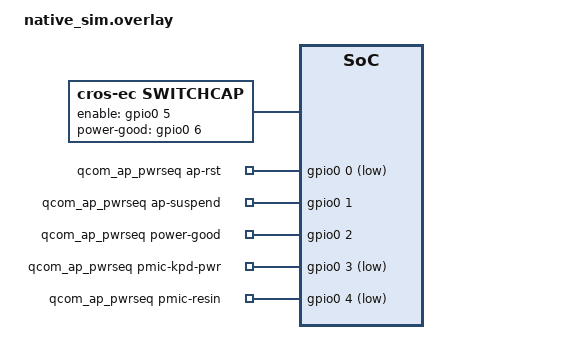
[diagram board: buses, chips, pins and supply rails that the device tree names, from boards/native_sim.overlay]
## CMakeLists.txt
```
# Copyright 2026 The ChromiumOS Authors
# Use of this source code is governed by a BSD-style license that can be
# found in the LICENSE file.

cmake_minimum_required(VERSION 3.13.1)
find_package(Zephyr REQUIRED HINTS "${ZEPHYR_BASE}")
project(qcom_ap_pwrseq)

add_subdirectory(${PLATFORM_EC}/zephyr/test/test_utils test_utils)

target_sources_ifdef(CONFIG_TEST_DEFAULT app PRIVATE src/main.c)
target_sources_ifdef(CONFIG_TEST_EC_APP_MAIN app PRIVATE src/test_ec_app_main.c)
target_sources_ifdef(CONFIG_TEST_SYSJUMP app PRIVATE src/test_sysjump.c)

target_sources(app PRIVATE
  src/mock_switchcap.c
  src/mock_input.c
  src/mock_chipset.c
)
```

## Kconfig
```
# Copyright 2026 The ChromiumOS Authors
# Use of this source code is governed by a BSD-style license that can be
# found in the LICENSE file.

source "Kconfig.zephyr"

config TEST_DEFAULT
	bool
	default y if !TEST_SYSJUMP && !TEST_EC_APP_MAIN

config TEST_EC_APP_MAIN
	bool "Test ec_app_main starts the power sequence task"

config TEST_SYSJUMP
	bool

choice TEST_SYSJUMP_CHOICE
	prompt "Select sysjump test state"
	optional

config TEST_SYSJUMP_S0
	bool "Test power sequencing with system jump in S0"
	select TEST_SYSJUMP

config TEST_SYSJUMP_S3
	bool "Test power sequencing with system jump in S3"
	select TEST_SYSJUMP

config TEST_SYSJUMP_G3
	bool "Test power sequencing with system jump in G3"
	select TEST_SYSJUMP

endchoice
```

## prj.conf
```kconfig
# Copyright 2026 The ChromiumOS Authors
# Use of this source code is governed by a BSD-style license that can be
# found in the LICENSE file.

CONFIG_ZTEST=y
CONFIG_ZTEST_MOCKING=y
CONFIG_PLATFORM_EC=y
CONFIG_PLATFORM_EC_HOOKS=y
CONFIG_CROS_EC=y
CONFIG_GPIO=y
CONFIG_GPIO_EMUL=y
CONFIG_QCOM_AP_PWRSEQ_DRIVER=y
CONFIG_CROS_SWITCHCAP=n
```

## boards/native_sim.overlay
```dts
/* Copyright 2026 The ChromiumOS Authors
 * Use of this source code is governed by a BSD-style license that can be
 * found in the LICENSE file.
 */

#include <board-overlays/native_sim.dts>
#include <zephyr/dt-bindings/gpio/gpio.h>

/ {
	switchcap: switchcap {
		compatible = "cros-ec,switchcap";
		enable-gpios = <&gpio0 5 GPIO_ACTIVE_HIGH>;
		power-good-gpios = <&gpio0 6 GPIO_ACTIVE_HIGH>;
	};

	qcom_ap_pwrseq: qcom-ap-pwrseq {
		compatible = "cros-ec,qcom-ap-pwrseq";
		switchcap = <&switchcap>;
		ap-rst-gpios = <&gpio0 0 GPIO_ACTIVE_LOW>;
		ap-suspend-gpios = <&gpio0 1 GPIO_ACTIVE_HIGH>;
		power-good-gpios = <&gpio0 2 GPIO_ACTIVE_HIGH>;
		pmic-kpd-pwr-gpios = <&gpio0 3 GPIO_ACTIVE_LOW>;
		pmic-resin-gpios = <&gpio0 4 GPIO_ACTIVE_LOW>;
	};
};
```

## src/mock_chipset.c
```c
/* Copyright 2026 The ChromiumOS Authors
 * Use of this source code is governed by a BSD-style license that can be
 * found in the LICENSE file.
 */

#include "hooks.h"
#include "mock_chipset.h"
#include "system.h"

#include <zephyr/fff.h>
#include <zephyr/ztest.h>

DEFINE_FAKE_VALUE_FUNC(int, system_can_boot_ap);

FAKE_VOID_FUNC(test_hook_pre_init);
FAKE_VOID_FUNC(test_hook_startup);
FAKE_VOID_FUNC(test_hook_resume);
FAKE_VOID_FUNC(test_hook_suspend);
FAKE_VOID_FUNC(test_hook_shutdown);
FAKE_VOID_FUNC(test_hook_shutdown_complete);
FAKE_VOID_FUNC(test_hook_reset);

DECLARE_HOOK(HOOK_CHIPSET_PRE_INIT, test_hook_pre_init, HOOK_PRIO_DEFAULT);
DECLARE_HOOK(HOOK_CHIPSET_STARTUP, test_hook_startup, HOOK_PRIO_DEFAULT);
DECLARE_HOOK(HOOK_CHIPSET_RESUME, test_hook_resume, HOOK_PRIO_DEFAULT);
DECLARE_HOOK(HOOK_CHIPSET_SUSPEND, test_hook_suspend, HOOK_PRIO_DEFAULT);
DECLARE_HOOK(HOOK_CHIPSET_SHUTDOWN, test_hook_shutdown, HOOK_PRIO_DEFAULT);
DECLARE_HOOK(HOOK_CHIPSET_SHUTDOWN_COMPLETE, test_hook_shutdown_complete,
	     HOOK_PRIO_DEFAULT);
DECLARE_HOOK(HOOK_CHIPSET_RESET, test_hook_reset, HOOK_PRIO_DEFAULT);

/* Additional functions for test verification */

void mock_clear_hook_notify_counts(void)
{
	RESET_FAKE(test_hook_pre_init);
	RESET_FAKE(test_hook_startup);
	RESET_FAKE(test_hook_resume);
	RESET_FAKE(test_hook_suspend);
	RESET_FAKE(test_hook_shutdown);
	RESET_FAKE(test_hook_shutdown_complete);
	RESET_FAKE(test_hook_reset);
}

void mock_chipset_reset_state(void)
{
	RESET_FAKE(system_can_boot_ap);
	system_can_boot_ap_fake.return_val = 1;
	system_common_reset_state();
	mock_clear_hook_notify_counts();
}

int mock_get_hook_notify_count(enum hook_type type)
{
	switch (type) {
	case HOOK_CHIPSET_PRE_INIT:
		return test_hook_pre_init_fake.call_count;
	case HOOK_CHIPSET_STARTUP:
		return test_hook_startup_fake.call_count;
	case HOOK_CHIPSET_RESUME:
		return test_hook_resume_fake.call_count;
	case HOOK_CHIPSET_SUSPEND:
		return test_hook_suspend_fake.call_count;
	case HOOK_CHIPSET_SHUTDOWN:
		return test_hook_shutdown_fake.call_count;
	case HOOK_CHIPSET_SHUTDOWN_COMPLETE:
		return test_hook_shutdown_complete_fake.call_count;
	case HOOK_CHIPSET_RESET:
		return test_hook_reset_fake.call_count;
	default:
		zassert_unreachable("Unsupported hook type %d", type);
		return 0;
	}
}
```

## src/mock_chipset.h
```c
/* Copyright 2026 The ChromiumOS Authors
 * Use of this source code is governed by a BSD-style license that can be
 * found in the LICENSE file.
 */

#ifndef ZEPHYR_TEST_QCOM_AP_PWRSEQ_SRC_MOCK_CHIPSET_H_
#define ZEPHYR_TEST_QCOM_AP_PWRSEQ_SRC_MOCK_CHIPSET_H_

#include "hooks.h"

#include <zephyr/fff.h>

DECLARE_FAKE_VALUE_FUNC(int, system_can_boot_ap);

void mock_chipset_reset_state(void);
int mock_get_hook_notify_count(enum hook_type type);
void mock_clear_hook_notify_counts(void);

#endif /* ZEPHYR_TEST_QCOM_AP_PWRSEQ_SRC_MOCK_CHIPSET_H_ */
```

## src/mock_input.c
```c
/* Copyright 2026 The ChromiumOS Authors
 * Use of this source code is governed by a BSD-style license that can be
 * found in the LICENSE file.
 */

#include "hooks.h"
#include "lid_switch.h"
#include "mock_input.h"
#include "power_button.h"

#include <stdbool.h>

#include <zephyr/fff.h>

DEFINE_FAKE_VALUE_FUNC(int, power_button_is_pressed);
DEFINE_FAKE_VALUE_FUNC(int, lid_is_open);

void mock_power_button_set(bool pressed)
{
	power_button_is_pressed_fake.return_val = pressed;
	hook_notify(HOOK_POWER_BUTTON_CHANGE);
}

void mock_lid_set(bool open)
{
	lid_is_open_fake.return_val = open;
	hook_notify(HOOK_LID_CHANGE);
}

void mock_input_reset_state(void)
{
	RESET_FAKE(power_button_is_pressed);
	RESET_FAKE(lid_is_open);
	lid_is_open_fake.return_val = 1;
}
```

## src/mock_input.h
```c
/* Copyright 2026 The ChromiumOS Authors
 * Use of this source code is governed by a BSD-style license that can be
 * found in the LICENSE file.
 */

#ifndef ZEPHYR_TEST_QCOM_AP_PWRSEQ_SRC_MOCK_INPUT_H_
#define ZEPHYR_TEST_QCOM_AP_PWRSEQ_SRC_MOCK_INPUT_H_

#include <stdbool.h>

#include <zephyr/fff.h>

DECLARE_FAKE_VALUE_FUNC(int, power_button_is_pressed);
DECLARE_FAKE_VALUE_FUNC(int, lid_is_open);

void mock_power_button_set(bool pressed);
void mock_lid_set(bool open);
void mock_input_reset_state(void);

#endif /* ZEPHYR_TEST_QCOM_AP_PWRSEQ_SRC_MOCK_INPUT_H_ */
```

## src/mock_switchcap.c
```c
/* Copyright 2026 The ChromiumOS Authors
 * Use of this source code is governed by a BSD-style license that can be
 * found in the LICENSE file.
 */

#include "mock_switchcap.h"

#include <stdbool.h>

#include <zephyr/device.h>
#include <zephyr/devicetree.h>
#include <zephyr/fff.h>

#include <drivers/cros_switchcap.h>

DEFINE_FAKE_VALUE_FUNC(int, cros_switchcap_set_power, const struct device *,
		       bool);
DEFINE_FAKE_VALUE_FUNC(bool, cros_switchcap_is_enabled, const struct device *);
DEFINE_FAKE_VALUE_FUNC(bool, cros_switchcap_is_power_good,
		       const struct device *);

static int custom_cros_switchcap_set_power(const struct device *dev,
					   bool enable)
{
	ARG_UNUSED(dev);

	cros_switchcap_is_enabled_fake.return_val = enable;
	return 0;
}

void mock_switchcap_reset_state(void)
{
	RESET_FAKE(cros_switchcap_set_power);
	RESET_FAKE(cros_switchcap_is_enabled);
	RESET_FAKE(cros_switchcap_is_power_good);
	cros_switchcap_set_power_fake.custom_fake =
		custom_cros_switchcap_set_power;
	cros_switchcap_is_power_good_fake.return_val = true;
}

DEVICE_DT_DEFINE(DT_NODELABEL(switchcap), NULL, NULL, NULL, NULL, POST_KERNEL,
		 CONFIG_KERNEL_INIT_PRIORITY_DEVICE, NULL);
```

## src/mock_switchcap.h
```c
/* Copyright 2026 The ChromiumOS Authors
 * Use of this source code is governed by a BSD-style license that can be
 * found in the LICENSE file.
 */

#ifndef ZEPHYR_TEST_QCOM_AP_PWRSEQ_SRC_MOCK_SWITCHCAP_H_
#define ZEPHYR_TEST_QCOM_AP_PWRSEQ_SRC_MOCK_SWITCHCAP_H_

#include <stdbool.h>

#include <zephyr/device.h>
#include <zephyr/fff.h>

DECLARE_FAKE_VALUE_FUNC(int, cros_switchcap_set_power, const struct device *,
			bool);
DECLARE_FAKE_VALUE_FUNC(bool, cros_switchcap_is_enabled, const struct device *);
DECLARE_FAKE_VALUE_FUNC(bool, cros_switchcap_is_power_good,
			const struct device *);

void mock_switchcap_reset_state(void);

#endif /* ZEPHYR_TEST_QCOM_AP_PWRSEQ_SRC_MOCK_SWITCHCAP_H_ */
```

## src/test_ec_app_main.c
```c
/* Copyright 2026 The ChromiumOS Authors
 * Use of this source code is governed by a BSD-style license that can be
 * found in the LICENSE file.
 */

#include "ap_power/ap_power_interface.h"
#include "ec_app_main.h"

#include <zephyr/fff.h>
#include <zephyr/ztest.h>

FAKE_VOID_FUNC(ap_pwrseq_task_start);

/*
 * Verify ec_app_main() starts the AP power sequence task when
 * CONFIG_QCOM_AP_PWRSEQ_DRIVER is enabled.
 */
ZTEST(qcom_ap_pwrseq, test_ec_app_main)
{
	ec_app_main();
	zassert_equal(ap_pwrseq_task_start_fake.call_count, 1);
}

ZTEST_SUITE(qcom_ap_pwrseq, NULL, NULL, NULL, NULL, NULL);
```

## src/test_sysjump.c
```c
/* Copyright 2026 The ChromiumOS Authors
 * Use of this source code is governed by a BSD-style license that can be
 * found in the LICENSE file.
 */

#include "ap_power/ap_power_interface.h"
#include "chipset.h"
#include "hooks.h"
#include "mock_chipset.h"
#include "system.h"

#include <zephyr/device.h>
#include <zephyr/devicetree.h>
#include <zephyr/drivers/gpio.h>
#include <zephyr/drivers/gpio/gpio_emul.h>
#include <zephyr/init.h>
#include <zephyr/ztest.h>

#define AP_PWRSEQ_NODE DT_NODELABEL(qcom_ap_pwrseq)

static const struct device *const ap_pwrseq_dev = DEVICE_DT_GET(AP_PWRSEQ_NODE);
static const struct gpio_dt_spec ap_suspend_gpio =
	GPIO_DT_SPEC_GET(AP_PWRSEQ_NODE, ap_suspend_gpios);
static const struct gpio_dt_spec power_good_gpio =
	GPIO_DT_SPEC_GET(AP_PWRSEQ_NODE, power_good_gpios);

#if defined(CONFIG_TEST_SYSJUMP_S0)
static const int power_good_init_val = 1;
static const int ap_suspend_init_val = 0;
static const enum chipset_state_mask expected_state = CHIPSET_STATE_ON;
static const bool expected_sleep_disabled = true;
#elif defined(CONFIG_TEST_SYSJUMP_S3)
static const int power_good_init_val = 1;
static const int ap_suspend_init_val = 1;
static const enum chipset_state_mask expected_state = CHIPSET_STATE_SUSPEND;
static const bool expected_sleep_disabled = false;
#elif defined(CONFIG_TEST_SYSJUMP_G3)
static const int power_good_init_val = 0;
static const int ap_suspend_init_val = 0;
static const enum chipset_state_mask expected_state = CHIPSET_STATE_HARD_OFF;
static const bool expected_sleep_disabled = false;
#endif

#define TEST_PRE_INIT_PRIO 80
BUILD_ASSERT(TEST_PRE_INIT_PRIO > CONFIG_GPIO_INIT_PRIORITY &&
	     TEST_PRE_INIT_PRIO < CONFIG_APPLICATION_INIT_PRIORITY);

static int sysjump_pre_init(void)
{
	system_set_reset_flags(EC_RESET_FLAG_SYSJUMP);
	gpio_pin_configure_dt(&power_good_gpio, GPIO_INPUT);
	gpio_pin_configure_dt(&ap_suspend_gpio, GPIO_INPUT);
	gpio_emul_input_set(power_good_gpio.port, power_good_gpio.pin,
			    power_good_init_val);
	gpio_emul_input_set(ap_suspend_gpio.port, ap_suspend_gpio.pin,
			    ap_suspend_init_val);
	return 0;
}
SYS_INIT(sysjump_pre_init, POST_KERNEL, TEST_PRE_INIT_PRIO);

static void verify_sysjump_init(void)
{
	zassert_true(device_is_ready(ap_pwrseq_dev));
	zassert_true(chipset_in_state(expected_state));
	zassert_equal(!!(atomic_get(&sleep_mask) & SLEEP_MASK_AP_RUN),
		      expected_sleep_disabled);

	ap_pwrseq_task_start();
	zassert_true(chipset_in_state(expected_state));
	zassert_equal(mock_get_hook_notify_count(HOOK_CHIPSET_PRE_INIT), 0);
	zassert_equal(mock_get_hook_notify_count(HOOK_CHIPSET_STARTUP), 0);
}

/*
 * Verify sysjump initialization across AP power states:
 * - S0 (power_good=1, ap_suspend=0): initializes in S0 with AP sleep disabled.
 * - S3 (power_good=1, ap_suspend=1): initializes in S3 with AP sleep enabled.
 * - G3 (power_good=0, ap_suspend=0): initializes in G3 with AP sleep enabled.
 *
 * 1. Check that the driver initializes in the expected state with the matching
 *    AP sleep mask configuration.
 * 2. Start the power sequence task and verify the chipset remains in the
 *    initial state without triggering a new startup sequence or auto power-on.
 */
ZTEST(qcom_ap_pwrseq, test_init_sysjump)
{
	verify_sysjump_init();
}

ZTEST_SUITE(qcom_ap_pwrseq, NULL, NULL, NULL, NULL, NULL);
```
